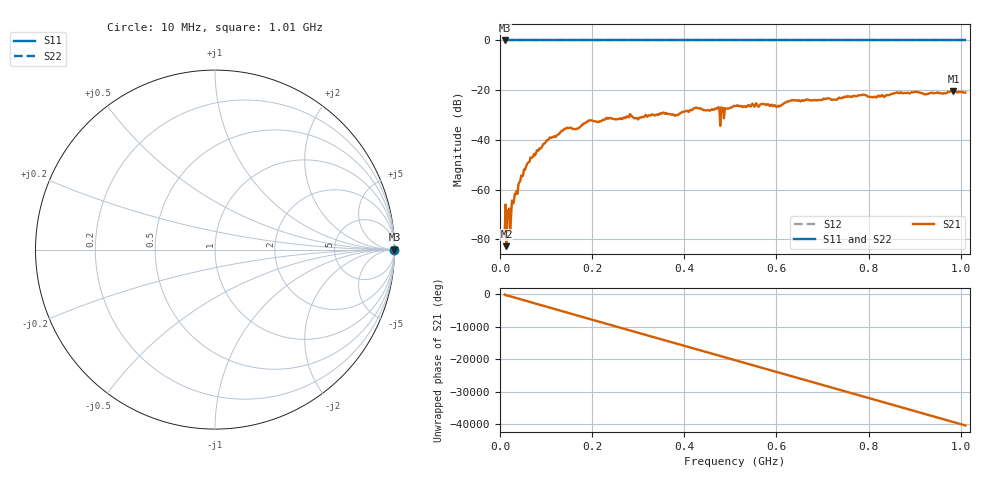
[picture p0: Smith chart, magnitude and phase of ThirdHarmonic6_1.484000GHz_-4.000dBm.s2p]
! 8/16/2025 5:21:17 PM
! C:\ANRITSUVNA\TEMP\TEMP.S2P
! CHANNEL.1
! TR.MEASUREMENT
! RAW.DATA
! RF.CORRECTION.OFF
! AVERAGING.OFF
! IF.BANDWIDTH: 5KHZ
! SWEEPTYPE:  FREQ.SWEEP(Linear)
! Reference Plane Port Info
! PORT:  PORT1  PORT2
! DISTANCE:  0  m  0  m
! TIME:  0  s  0  s
! PHASE.OFFSET:  0  deg.  0  deg.
! LOSS:  0  dB  0  dB
! REF.LOSS:  0  dB  0  dB
! REF.FREQ:  0  Hz  0  Hz
! Power Info
! POWER:  -20  dBm  -20  dBm
! EFF.POWER:  -20  dBm  -20  dBm
! SOURCE.ATTEN:  0  dB  0  dB
! TEST.ATTEN:  0  dB  0  dB
# GHZ S RI R 50.0
! FREQ.GHZ  S11RE  S11IM  S21RE  S21IM  S12RE  S12IM  S22RE  S22IM
!; PortSelection: Port_12
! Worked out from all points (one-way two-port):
!   501 points, 10 MHz to 1.01 GHz, reference 50 ohm
!   highest |S21| = -20.37 dB at 984 MHz (marker M1); lowest = -82.7 dB at 14 MHz (marker M2)
!   lowest |S11| = 0.0 dB at 10 MHz (marker M3)
!   |S11| at or under -10 dB: nowhere
!   |S22| runs from 0.0 to 0.0 dB; largest |S21 - S12| = 1.1
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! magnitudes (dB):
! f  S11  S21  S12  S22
! 10 MHz  0.0  -78.5  0.0  0.0
! 14 MHz  0.0  -82.7  0.0  0.0
! 16 MHz  0.0  -68.3  0.0  0.0
! 18 MHz  0.0  -71.0  0.0  0.0
! 26 MHz  0.0  -64.4  0.0  0.0
! 30 MHz  0.0  -65.0  0.0  0.0
! 44 MHz  0.0  -56.5  0.0  0.0
! 70 MHz  0.0  -46.9  0.0  0.0
! 106 MHz  0.0  -39.7  0.0  0.0
! 178 MHz  0.0  -33.9  0.0  0.0
! 344 MHz  0.0  -30.0  0.0  0.0
! 382 MHz  0.0  -30.0  0.0  0.0
! 426 MHz  0.0  -27.0  0.0  0.0
! 472 MHz  0.0  -27.2  0.0  0.0
! 482 MHz  0.0  -27.0  0.0  0.0
! 510 MHz  0.0  -26.3  0.0  0.0
! 604 MHz  0.0  -26.2  0.0  0.0
! 634 MHz  0.0  -24.1  0.0  0.0
! 678 MHz  0.0  -24.1  0.0  0.0
! 844 MHz  0.0  -22.0  0.0  0.0
! 984 MHz  0.0  -20.4  0.0  0.0
! 1.01 GHz  0.0  -20.9  0.0  0.0
